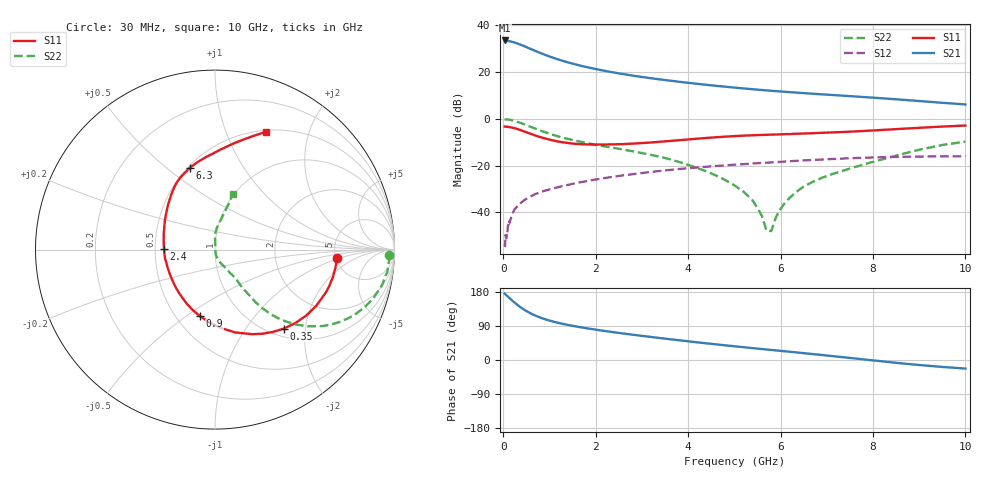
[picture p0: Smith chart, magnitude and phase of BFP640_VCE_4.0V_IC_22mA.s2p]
! Infineon Technologies  Discrete & RF Semiconductors
! BFP640
! VCE =  4.0 V,  IC =  22 mA
! Common Emitter S-Parameters:  Apr 2013
# GHz  S  MA  R  50
!  f  S11  S21  S12  S22
! GHz  MAG  ANG  MAG  ANG  MAG  ANG  MAG  ANG
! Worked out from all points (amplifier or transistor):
!   99 points, 30 MHz to 10 GHz, reference 50 ohm
!   highest |S21| = 33.5 dB at 30 MHz (marker M1)
!   |S21| within 3 dB of that: start of sweep to 520.8 MHz
!   unconditionally stable (mu >= 1): 2.61 GHz to end of sweep
!   at 350 MHz: K = 0.32, MSG = 34.2 dB, |S12| = -36.5 dB
!   at 3.5 GHz: K = 1.04, MAG = 18.0 dB, |S12| = -22.1 dB
!   at 10 GHz: K = 1.07, MAG = 9.5 dB, |S12| = -16.0 dB
!   S11 on the Smith chart (normalised r, x): 30 MHz: 5.11, -0.88; 350 MHz: 1.15, -1.54; 900 MHz: 0.65, -0.57; 2.4 GHz: 0.56, +0.01; 6.3 GHz: 0.51, +0.61; 10 GHz: 0.52, +1.40
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0.03  0.6808 -3.9  47.1 175.2  0.0021 61.9  0.9698 -1.9
0.11  0.6695 -16.2  46.03 166.3  0.0053 81.3  0.9616 -9.4
0.2  0.6452 -29.1  43.87 156.3  0.0094 73.9  0.9226 -17.1
0.25  0.6271 -35.9  42.45 151.0  0.0118 73.9  0.8953 -20.8
0.35  0.5843 -48.8  39.07 141.4  0.0149 70.0  0.8315 -27.6
0.45  0.5381 -60.6  35.71 133.0  0.0181 65.7  0.7653 -33.2
0.6  0.4752 -76.3  30.83 122.7  0.0222 62.8  0.6689 -39.7
0.7  0.4376 -85.7  28.02 117.0  0.0248 61.5  0.6138 -42.8
0.8  0.4066 -94.5  25.52 112.1  0.0269 60.0  0.5622 -45.4
0.9  0.3808 -102.5  23.37 107.9  0.0291 58.7  0.5189 -47.4
1  0.3595 -110.0  21.45 104.2  0.0309 58.2  0.4803 -49.0
1.2  0.3249 -123.8  18.4 97.8  0.0349 56.7  0.4183 -51.1
1.4  0.3039 -135.8  16.04 92.6  0.0387 55.7  0.3717 -52.3
1.7  0.2858 -152.0  13.44 85.9  0.0446 54.5  0.3186 -53.0
2.4  0.2843 178.8  9.713 73.1  0.058 50.6  0.2378 -54.5
3.4  0.3238 149.5  6.915 57.8  0.0769 43.5  0.153 -57.4
5.1  0.431 119.3  4.544 35.0  0.1059 29.8  0.0324 -79.4
5.7  0.4545 112.8  4.038 27.7  0.1154 25.1  0.004 -31.3
6.3  0.4774 107.0  3.649 20.6  0.1257 20.0  0.0253 85.1
6.7  0.4929 102.4  3.431 15.6  0.1319 16.5  0.0452 88.5
8.5  0.601 80.0  2.609 -7.4  0.1535 -1.2  0.1637 79.5
10  0.7165 66.4  2.026 -22.6  0.1584 -13.0  0.3243 72.5
